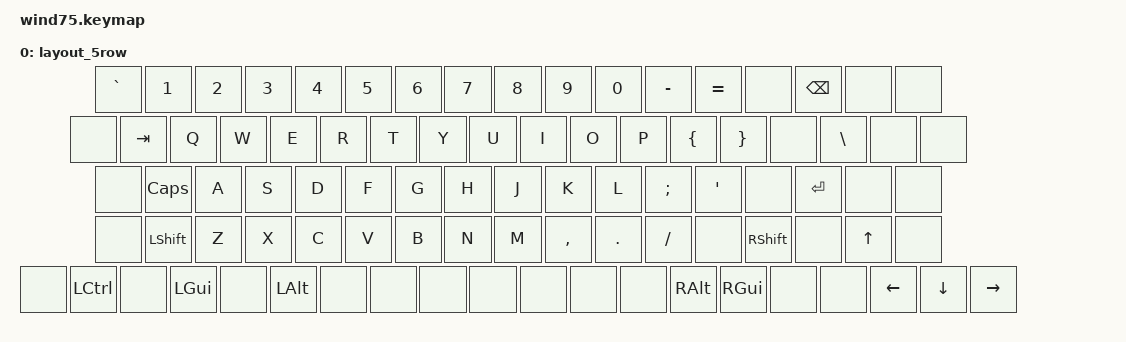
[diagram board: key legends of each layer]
/ {
    keymap {
        compatible = "zmk,keymap";

        layout_5row {
            bindings =
                /* Row 1 */
                <&kp GRAVE>, <&kp 1>, <&kp 2>, <&kp 3>, <&kp 4>, <&kp 5>, <&kp 6>, <&kp 7>, <&kp 8>, <&kp 9>, <&kp 0>, <&kp MINUS>, <&kp EQUAL>, <&none>, <&kp BACKSPACE>, <&none>, <&none>,
                /* Row 2 */
                <&none>, <&kp TAB>, <&kp Q>, <&kp W>, <&kp E>, <&kp R>, <&kp T>, <&kp Y>, <&kp U>, <&kp I>, <&kp O>, <&kp P>, <&kp LEFT_BRACE>, <&kp RIGHT_BRACE>, <&none>, <&kp BACKSLASH>, <&none>, <&none>,
                /* Row 3 */
                <&none>, <&kp CAPS>, <&kp A>, <&kp S>, <&kp D>, <&kp F>, <&kp G>, <&kp H>, <&kp J>, <&kp K>, <&kp L>, <&kp SEMI>, <&kp SQT>, <&none>, <&kp ENTER>, <&none>, <&none>,
                /* Row 4 */
                <&none>, <&kp LSHIFT>, <&kp Z>, <&kp X>, <&kp C>, <&kp V>, <&kp B>, <&kp N>, <&kp M>, <&kp COMMA>, <&kp DOT>, <&kp SLASH>, <&none>, <&kp RSHIFT>, <&none>, <&kp UP>, <&none>,
                /* Row 5 */
                <&none>, <&kp LCTRL>, <&none>, <&kp LGUI>, <&none>, <&kp LALT>, <&none>, <&none>, <&none>, <&none>, <&none>, <&none>, <&none>, <&kp RALT>, <&kp RGUI>, <&none>, <&none>, <&kp LEFT>, <&kp DOWN>, <&kp RIGHT>;
        };
    };
}
